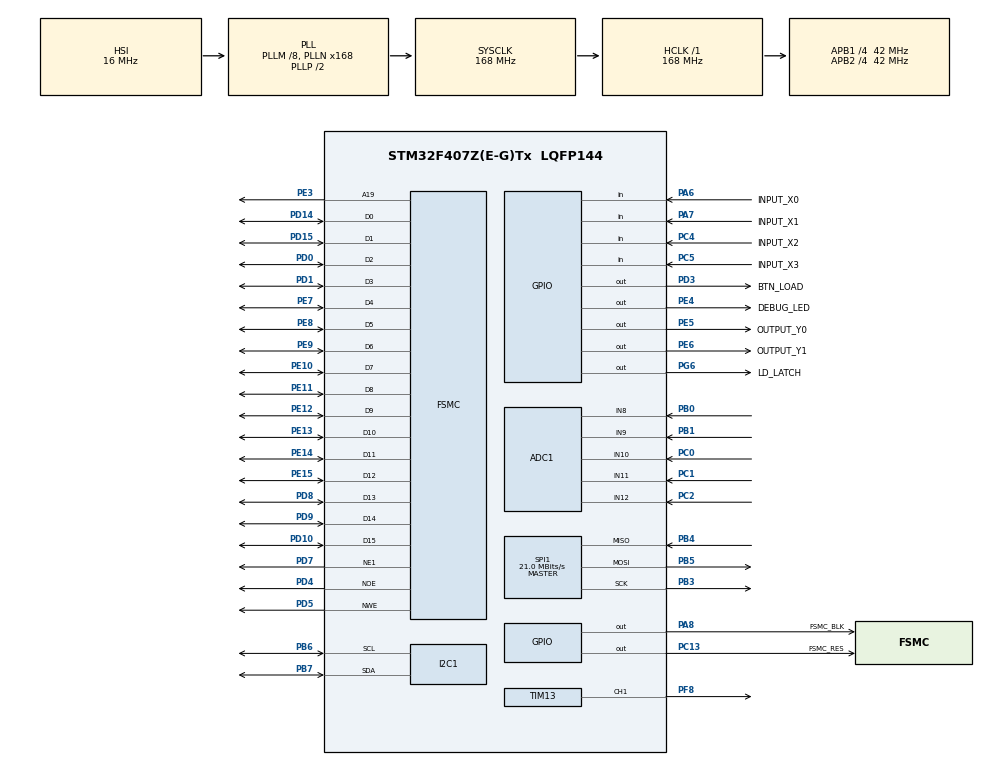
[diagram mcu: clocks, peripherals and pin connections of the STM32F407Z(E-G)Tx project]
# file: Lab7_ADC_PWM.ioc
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ADC1.Channel-0\#ChannelRegularConversion=ADC_CHANNEL_8
ADC1.Channel-1\#ChannelRegularConversion=ADC_CHANNEL_9
ADC1.Channel-2\#ChannelRegularConversion=ADC_CHANNEL_10
ADC1.Channel-3\#ChannelRegularConversion=ADC_CHANNEL_11
ADC1.Channel-4\#ChannelRegularConversion=ADC_CHANNEL_12
ADC1.NbrOfConversion=5
ADC1.NbrOfConversionFlag=1
ADC1.Rank-0\#ChannelRegularConversion=1
ADC1.Rank-1\#ChannelRegularConversion=2
ADC1.Rank-2\#ChannelRegularConversion=3
ADC1.Rank-3\#ChannelRegularConversion=4
ADC1.Rank-4\#ChannelRegularConversion=5
ADC1.SamplingTime-0\#ChannelRegularConversion=ADC_SAMPLETIME_3CYCLES
ADC1.SamplingTime-1\#ChannelRegularConversion=ADC_SAMPLETIME_3CYCLES
ADC1.SamplingTime-2\#ChannelRegularConversion=ADC_SAMPLETIME_3CYCLES
ADC1.SamplingTime-3\#ChannelRegularConversion=ADC_SAMPLETIME_3CYCLES
ADC1.SamplingTime-4\#ChannelRegularConversion=ADC_SAMPLETIME_3CYCLES
ADC1.ScanConvMode=ENABLE
ADC1.master=1
Dma.ADC1.0.Direction=DMA_PERIPH_TO_MEMORY
Dma.ADC1.0.FIFOMode=DMA_FIFOMODE_DISABLE
Dma.ADC1.0.Instance=DMA2_Stream0
Dma.ADC1.0.MemDataAlignment=DMA_MDATAALIGN_HALFWORD
Dma.ADC1.0.MemInc=DMA_MINC_ENABLE
Dma.ADC1.0.Mode=DMA_CIRCULAR
Dma.ADC1.0.PeriphDataAlignment=DMA_PDATAALIGN_HALFWORD
Dma.ADC1.0.PeriphInc=DMA_PINC_DISABLE
Dma.ADC1.0.Priority=DMA_PRIORITY_LOW
Dma.Request0=ADC1
FSMC.AddressSetupTime1=0xf
FSMC.BusTurnAroundDuration1=0
FSMC.DataSetupTime1=60
FSMC.ExtendedAddressSetupTime1=8
FSMC.ExtendedBusTurnAroundDuration1=0
FSMC.ExtendedDataSetupTime1=9
FSMC.ExtendedMode1=FSMC_EXTENDED_MODE_ENABLE
Mcu.Family=STM32F4
Mcu.Name=STM32F407Z(E-G)Tx
Mcu.Package=LQFP144
NVIC.DMA2_Stream0_IRQn=true\:0\:0\:false\:false\:true\:false\:true\:true
NVIC.PriorityGroup=NVIC_PRIORITYGROUP_4
NVIC.TIM2_IRQn=true\:0\:0\:false\:false\:true\:true\:true\:true
NVIC.TIM4_IRQn=true\:0\:0\:false\:false\:true\:true\:true\:true
PA13.Mode=Serial_Wire
PA13.Signal=SYS_JTMS-SWDIO
PA14.Mode=Serial_Wire
PA14.Signal=SYS_JTCK-SWCLK
PA6.GPIO_Label=INPUT_X0
PA6.Signal=GPIO_Input
PA7.GPIO_Label=INPUT_X1
PA7.Signal=GPIO_Input
PA8.GPIO_Label=FSMC_BLK
PA8.Signal=GPIO_Output
PB0.Signal=ADCx_IN8
PB1.Signal=ADCx_IN9
PB3.Mode=Full_Duplex_Master
PB3.Signal=SPI1_SCK
PB4.Mode=Full_Duplex_Master
PB4.Signal=SPI1_MISO
PB5.Mode=Full_Duplex_Master
PB5.Signal=SPI1_MOSI
PB6.Mode=I2C
PB6.Signal=I2C1_SCL
PB7.Mode=I2C
PB7.Signal=I2C1_SDA
PC0.Signal=ADCx_IN10
PC1.Signal=ADCx_IN11
PC13-ANTI_TAMP.GPIO_Label=FSMC_RES
PC13-ANTI_TAMP.Signal=GPIO_Output
PC2.Signal=ADCx_IN12
PC4.GPIO_Label=INPUT_X2
PC4.Signal=GPIO_Input
PC5.GPIO_Label=INPUT_X3
PC5.Signal=GPIO_Input
PD0.Signal=FSMC_D2_DA2
PD1.Signal=FSMC_D3_DA3
PD10.Signal=FSMC_D15_DA15
PD14.Signal=FSMC_D0_DA0
PD15.Signal=FSMC_D1_DA1
PD3.GPIO_Label=BTN_LOAD
PD3.Signal=GPIO_Output
PD4.Signal=FSMC_NOE
PD5.Signal=FSMC_NWE
PD7.Mode=NorPsramChipSelect1_1
PD7.Signal=FSMC_NE1
PD8.Signal=FSMC_D13_DA13
PD9.Signal=FSMC_D14_DA14
PE10.Signal=FSMC_D7_DA7
PE11.Signal=FSMC_D8_DA8
PE12.Signal=FSMC_D9_DA9
PE13.Signal=FSMC_D10_DA10
PE14.Signal=FSMC_D11_DA11
PE15.Signal=FSMC_D12_DA12
PE3.Signal=FSMC_A19
PE4.GPIO_Label=DEBUG_LED
PE4.Signal=GPIO_Output
PE5.GPIO_Label=OUTPUT_Y0
PE5.Signal=GPIO_Output
PE6.GPIO_Label=OUTPUT_Y1
PE6.Signal=GPIO_Output
PE7.Signal=FSMC_D4_DA4
PE8.Signal=FSMC_D5_DA5
PE9.Signal=FSMC_D6_DA6
PF8.Signal=S_TIM13_CH1
PG6.GPIO_Label=LD_LATCH
PG6.Signal=GPIO_Output
PH0-OSC_IN.Mode=HSE-External-Oscillator
PH0-OSC_IN.Signal=RCC_OSC_IN
PH1-OSC_OUT.Mode=HSE-External-Oscillator
PH1-OSC_OUT.Signal=RCC_OSC_OUT
ProjectManager.HeapSize=0x200
ProjectManager.StackSize=0x400
ProjectManager.TargetToolchain=STM32CubeIDE
RCC.48MHZClocksFreq_Value=84000000
RCC.AHBFreq_Value=168000000
RCC.APB1CLKDivider=RCC_HCLK_DIV4
RCC.APB1Freq_Value=42000000
RCC.APB1TimFreq_Value=84000000
RCC.APB2CLKDivider=RCC_HCLK_DIV4
RCC.APB2Freq_Value=42000000
RCC.APB2TimFreq_Value=84000000
RCC.CortexFreq_Value=168000000
RCC.HCLKFreq_Value=168000000
RCC.HSE_VALUE=8000000
RCC.HSI_VALUE=16000000
RCC.LSE_VALUE=32768
RCC.PLLM=8
RCC.PLLN=168
RCC.SYSCLKFreq_VALUE=168000000
RCC.SYSCLKSource=RCC_SYSCLKSOURCE_PLLCLK
RCC.VCOOutputFreq_Value=336000000
SH.ADCx_IN10.0=ADC1_IN10,IN10
SH.ADCx_IN11.0=ADC1_IN11,IN11
SH.ADCx_IN12.0=ADC1_IN12,IN12
SH.ADCx_IN8.0=ADC1_IN8,IN8
SH.ADCx_IN9.0=ADC1_IN9,IN9
SH.FSMC_A19.0=FSMC_A19,A19_1
SH.FSMC_D0_DA0.0=FSMC_D0,16b-d1
SH.FSMC_D10_DA10.0=FSMC_D10,16b-d1
SH.FSMC_D11_DA11.0=FSMC_D11,16b-d1
SH.FSMC_D12_DA12.0=FSMC_D12,16b-d1
SH.FSMC_D13_DA13.0=FSMC_D13,16b-d1
SH.FSMC_D14_DA14.0=FSMC_D14,16b-d1
SH.FSMC_D15_DA15.0=FSMC_D15,16b-d1
SH.FSMC_D1_DA1.0=FSMC_D1,16b-d1
SH.FSMC_D2_DA2.0=FSMC_D2,16b-d1
SH.FSMC_D3_DA3.0=FSMC_D3,16b-d1
SH.FSMC_D4_DA4.0=FSMC_D4,16b-d1
SH.FSMC_D5_DA5.0=FSMC_D5,16b-d1
SH.FSMC_D6_DA6.0=FSMC_D6,16b-d1
SH.FSMC_D7_DA7.0=FSMC_D7,16b-d1
SH.FSMC_D8_DA8.0=FSMC_D8,16b-d1
SH.FSMC_D9_DA9.0=FSMC_D9,16b-d1
SH.FSMC_NOE.0=FSMC_NOE,Lcd1
SH.FSMC_NWE.0=FSMC_NWE,Lcd1
SH.S_TIM13_CH1.0=TIM13_CH1,PWM Generation1 CH1
SPI1.BaudRatePrescaler=SPI_BAUDRATEPRESCALER_2
SPI1.CalculateBaudRate=21.0 MBits/s
SPI1.Direction=SPI_DIRECTION_2LINES
SPI1.Mode=SPI_MODE_MASTER
SPI1.VirtualType=VM_MASTER
TIM13.Channel=TIM_CHANNEL_1
TIM13.Period=100-1
TIM13.Prescaler=840-1
TIM2.Period=100-1
TIM2.Prescaler=840-1
TIM4.Period=100-1
TIM4.Prescaler=840-1
VP_TIM13_VS_ClockSourceINT.Mode=Enable_Timer
VP_TIM2_VS_ClockSourceINT.Mode=Internal
VP_TIM4_VS_ClockSourceINT.Mode=Internal
board=custom

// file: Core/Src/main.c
/* USER CODE BEGIN Header */
/**
 ******************************************************************************
 * @file           : main.c
 * @brief          : Main program body
 ******************************************************************************
 * @attention
 *
 * <h2><center>&copy; Copyright (c) 2023 STMicroelectronics.
 * All rights reserved.</center></h2>
 *
 * This software component is licensed by ST under BSD 3-Clause license,
 * the "License"; You may not use this file except in compliance with the
 * License. You may obtain a copy of the License at:
 *                        opensource.org/licenses/BSD-3-Clause
 *
 ******************************************************************************
 */
/* USER CODE END Header */
#include "main.h"
#include "adc.h"
#include "dma.h"
#include "i2c.h"
#include "spi.h"
#include "tim.h"
#include "gpio.h"
#include "fsmc.h"

/* USER CODE BEGIN Includes */
#include "software_timer.h"
#include "led_7seg.h"
#include "button.h"
#include "lcd.h"
#include "picture.h"
#include "ds3231.h"
#include "sensor.h"
#include "buzzer.h"
/* USER CODE END Includes */

void SystemClock_Config(void);
/* USER CODE BEGIN PFP */
void system_init();
void TestBuzzer();
void TestADC();
/* USER CODE END PFP */

int main(void) {

	/* MCU Configuration--------------------------------------------------------*/

	/* Reset of all peripherals, Initializes the Flash interface and the Systick. */
	HAL_Init();

	/* Configure the system clock */
	SystemClock_Config();

	/* Initialize all configured peripherals */
	MX_GPIO_Init();
	MX_DMA_Init();
	MX_SPI1_Init();
	MX_FSMC_Init();
	MX_I2C1_Init();
	MX_TIM13_Init();
	MX_TIM2_Init();
	MX_ADC1_Init();
	MX_TIM4_Init();
	/* USER CODE BEGIN 2 */
	system_init();
	/* USER CODE END 2 */

	/* Infinite loop */
	/* USER CODE BEGIN WHILE */
	lcd_clear(BLACK);
	while (1) {
		while (!timer2_flag)
			;
		timer2_flag = 0;

		button_scan();

		TestADC();
		TestBuzzer();
		/* USER CODE END WHILE */

	}
}

void SystemClock_Config(void) {
	RCC_OscInitTypeDef RCC_OscInitStruct = { 0 };
	RCC_ClkInitTypeDef RCC_ClkInitStruct = { 0 };

	/** Configure the main internal regulator output voltage
	 */
	__HAL_RCC_PWR_CLK_ENABLE();
	__HAL_PWR_VOLTAGESCALING_CONFIG(PWR_REGULATOR_VOLTAGE_SCALE1);

	/** Initializes the RCC Oscillators according to the specified parameters
	 * in the RCC_OscInitTypeDef structure.
	 */
	RCC_OscInitStruct.OscillatorType = RCC_OSCILLATORTYPE_HSI;
	RCC_OscInitStruct.HSIState = RCC_HSI_ON;
	RCC_OscInitStruct.HSICalibrationValue = RCC_HSICALIBRATION_DEFAULT;
	RCC_OscInitStruct.PLL.PLLState = RCC_PLL_ON;
	RCC_OscInitStruct.PLL.PLLSource = RCC_PLLSOURCE_HSI;
	RCC_OscInitStruct.PLL.PLLM = 8;
	RCC_OscInitStruct.PLL.PLLN = 168;
	RCC_OscInitStruct.PLL.PLLP = RCC_PLLP_DIV2;
	RCC_OscInitStruct.PLL.PLLQ = 4;
	if (HAL_RCC_OscConfig(&RCC_OscInitStruct) != HAL_OK) {
		Error_Handler();
	}

	/** Initializes the CPU, AHB and APB buses clocks
	 */
	RCC_ClkInitStruct.ClockType = RCC_CLOCKTYPE_HCLK | RCC_CLOCKTYPE_SYSCLK
			| RCC_CLOCKTYPE_PCLK1 | RCC_CLOCKTYPE_PCLK2;
	RCC_ClkInitStruct.SYSCLKSource = RCC_SYSCLKSOURCE_PLLCLK;
	RCC_ClkInitStruct.AHBCLKDivider = RCC_SYSCLK_DIV1;
	RCC_ClkInitStruct.APB1CLKDivider = RCC_HCLK_DIV4;
	RCC_ClkInitStruct.APB2CLKDivider = RCC_HCLK_DIV4;

	if (HAL_RCC_ClockConfig(&RCC_ClkInitStruct, FLASH_LATENCY_5) != HAL_OK) {
		Error_Handler();
	}
}

/* USER CODE BEGIN 4 */
void system_init() {
	button_init();
	lcd_init();

	sensor_init();
	buzzer_init();

	timer2_init();
	timer2_set(50);
}

uint8_t IsButtonUp() {
	if (button_count[3] == 1)
		return 1;
	else
		return 0;
}

uint8_t IsButtonDown() {
	if (button_count[7] == 1)
		return 1;
	else
		return 0;
}

uint8_t isButtonRight() {
	if (button_count[11] == 1)
		return 1;
	else
		return 0;
}

uint8_t count_adc = 0;
void TestADC() {
	count_adc = (count_adc + 1) % 20;
	if (count_adc == 0) {
		sensor_read();
		lcd_show_string(10, 100, "Voltage:", RED, BLACK, 16, 0);
		lcd_show_float_num(130, 100, sensor_get_voltage(), 4, RED, BLACK, 16);
		lcd_show_string(10, 120, "Current:", RED, BLACK, 16, 0);
		lcd_show_float_num(130, 120, sensor_get_current(), 4, RED, BLACK, 16);
		lcd_show_string(10, 140, "Light:", RED, BLACK, 16, 0);
		lcd_show_int_num(130, 140, sensor_get_light(), 4, RED, BLACK, 16);
		lcd_show_string(10, 160, "Potentiometer:", RED, BLACK, 16, 0);
		lcd_show_int_num(130, 160, sensor_get_potentiometer(), 4, RED, BLACK,
				16);
		lcd_show_string(10, 180, "Temperature:", RED, BLACK, 16, 0);
		lcd_show_float_num(130, 180, sensor_get_temperature(), 4, RED, BLACK,
				16);
	}
}

void TestBuzzer() {
	if (IsButtonUp()) {
		buzzer_set_volume(50);
	}

	if (IsButtonDown()) {
		buzzer_set_volume(0);
	}

	if (isButtonRight()) {
		buzzer_set_volume(25);
	}
}
/* USER CODE END 4 */

void Error_Handler(void) {
	__disable_irq();
	while (1) {
	}
}
